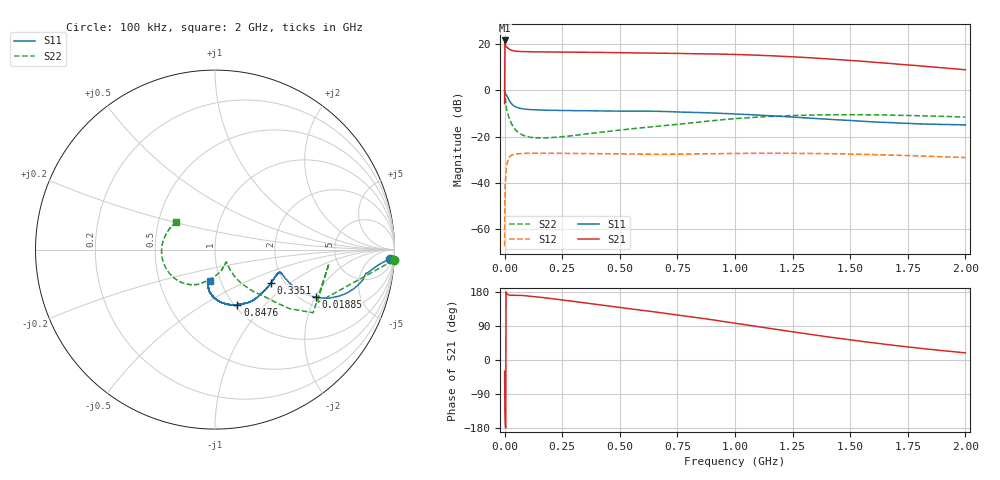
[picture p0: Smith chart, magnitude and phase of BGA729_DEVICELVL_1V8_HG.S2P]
!Agilent Technologies,E5071C,MY46105553,A.09.30
!Date: Fri Apr 03 07:20:28 2015
!Data & Calibration Information:
!Freq	S11:SOLT2(ON)	S21:SOLT2(ON)	S12:SOLT2(ON)	S22:SOLT2(ON)
# Hz S dB R 50
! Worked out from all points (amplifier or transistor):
!   1601 points, 100 kHz to 2 GHz, reference 50 ohm
!   highest |S21| = 21.5 dB at 2.6 MHz (marker M1)
!   |S21| within 3 dB of that: 1.339 MHz to 11.22 MHz (9.882 MHz wide, 157 % of centre)
!   unconditionally stable (mu >= 1): 234.8 kHz to 1.392 MHz; 14.2 MHz to end of sweep
!   at 332.6 MHz: K = 1.65, MAG = 17.1 dB, |S12| = -27.2 dB
!   at 1 GHz: K = 1.74, MAG = 16.3 dB, |S12| = -27.2 dB
!   at 2 GHz: K = 4.59, MAG = 9.4 dB, |S12| = -29.0 dB
!   S11 on the Smith chart (normalised r, x): 100 kHz: 15, -31; 18.85 MHz: 2.35, -2.00; 335.1 MHz: 1.71, -0.73; 847.6 MHz: 1.03, -0.72; 2 GHz: 0.89, -0.33
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100000  -0.22 -3.0  -5.71 -29.6  -67.19 110.3  -0.03 -3.5
2599875  -1.29 -8.5  21.49 -165.3  -39.93 100.4  -3.88 -7.0
1.134944e7  -2.65 -20.6  18.48 174.2  -31.37 55.7  -9.12 -45.1
1.259938e7  -2.91 -21.7  18.34 173.3  -30.85 52.4  -9.60 -46.5
1.384931e7  -3.17 -22.9  18.24 172.7  -30.38 49.3  -10.08 -47.6
1.884906e7  -4.17 -25.2  17.82 171.4  -29.15 40.0  -11.66 -50.6
2.509875e7  -5.15 -26.3  17.45 171.0  -28.38 31.7  -13.31 -52.8
3.384831e7  -6.16 -25.5  17.14 171.0  -27.79 24.4  -15.10 -54.0
6.0097e7  -7.58 -21.8  16.79 170.8  -27.33 13.8  -18.22 -51.5
1.325934e8  -8.39 -19.5  16.57 167.1  -27.15 5.1  -20.42 -48.7
3.338333e8  -8.79 -30.6  16.41 151.8  -27.24 -0.8  -19.04 -66.5
3.350832e8  -8.81 -30.8  16.40 151.8  -27.25 -0.8  -19.02 -66.7
4.938253e8  -8.97 -41.5  16.23 139.1  -27.38 -2.9  -17.22 -83.8
6.675666e8  -9.04 -54.5  16.00 125.6  -27.57 -3.3  -15.48 -100.2
8.475576e8  -9.57 -67.9  15.74 110.7  -27.43 -3.3  -13.66 -113.7
1.00005e9  -10.19 -78.7  15.46 97.2  -27.22 -5.1  -12.21 -127.8
1.147543e9  -10.96 -87.0  14.93 83.7  -27.14 -7.9  -11.29 -142.2
1.333783e9  -12.04 -94.9  13.97 67.1  -27.23 -11.8  -10.68 -160.0
1.491275e9  -12.96 -98.7  12.95 53.9  -27.49 -15.1  -10.50 -174.2
1.667517e9  -13.94 -101.0  11.62 40.3  -27.88 -18.6  -10.66 170.7
1.836258e9  -14.56 -100.5  10.25 28.8  -28.40 -21.6  -11.04 157.0
2e9  -14.90 -99.0  8.86 18.9  -29.00 -23.9  -11.55 144.8
